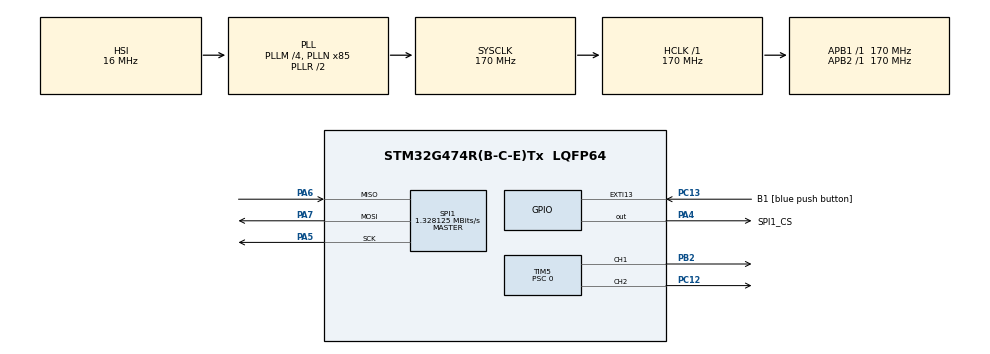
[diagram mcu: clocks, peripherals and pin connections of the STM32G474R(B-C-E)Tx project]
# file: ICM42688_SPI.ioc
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Dma.Request0=SPI1_TX
Dma.Request1=SPI1_RX
Dma.SPI1_RX.1.Direction=DMA_PERIPH_TO_MEMORY
Dma.SPI1_RX.1.EventEnable=DISABLE
Dma.SPI1_RX.1.Instance=DMA1_Channel2
Dma.SPI1_RX.1.MemDataAlignment=DMA_MDATAALIGN_BYTE
Dma.SPI1_RX.1.MemInc=DMA_MINC_ENABLE
Dma.SPI1_RX.1.Mode=DMA_CIRCULAR
Dma.SPI1_RX.1.PeriphDataAlignment=DMA_PDATAALIGN_BYTE
Dma.SPI1_RX.1.PeriphInc=DMA_PINC_DISABLE
Dma.SPI1_RX.1.Polarity=HAL_DMAMUX_REQ_GEN_RISING
Dma.SPI1_RX.1.Priority=DMA_PRIORITY_LOW
Dma.SPI1_RX.1.RequestNumber=1
Dma.SPI1_RX.1.SignalID=NONE
Dma.SPI1_RX.1.SyncEnable=DISABLE
Dma.SPI1_RX.1.SyncPolarity=HAL_DMAMUX_SYNC_NO_EVENT
Dma.SPI1_RX.1.SyncRequestNumber=1
Dma.SPI1_RX.1.SyncSignalID=NONE
Dma.SPI1_TX.0.Direction=DMA_MEMORY_TO_PERIPH
Dma.SPI1_TX.0.EventEnable=DISABLE
Dma.SPI1_TX.0.Instance=DMA1_Channel1
Dma.SPI1_TX.0.MemDataAlignment=DMA_MDATAALIGN_BYTE
Dma.SPI1_TX.0.MemInc=DMA_MINC_ENABLE
Dma.SPI1_TX.0.Mode=DMA_CIRCULAR
Dma.SPI1_TX.0.PeriphDataAlignment=DMA_PDATAALIGN_BYTE
Dma.SPI1_TX.0.PeriphInc=DMA_PINC_DISABLE
Dma.SPI1_TX.0.Polarity=HAL_DMAMUX_REQ_GEN_RISING
Dma.SPI1_TX.0.Priority=DMA_PRIORITY_LOW
Dma.SPI1_TX.0.RequestNumber=1
Dma.SPI1_TX.0.SignalID=NONE
Dma.SPI1_TX.0.SyncEnable=DISABLE
Dma.SPI1_TX.0.SyncPolarity=HAL_DMAMUX_SYNC_NO_EVENT
Dma.SPI1_TX.0.SyncRequestNumber=1
Dma.SPI1_TX.0.SyncSignalID=NONE
Mcu.Family=STM32G4
Mcu.Name=STM32G474R(B-C-E)Tx
Mcu.Package=LQFP64
NUCLEO-G474RE.VCP=true
NVIC.DMA1_Channel1_IRQn=true\:0\:0\:false\:false\:true\:false\:true\:true
NVIC.DMA1_Channel2_IRQn=true\:0\:0\:false\:false\:true\:false\:true\:true
NVIC.EXTI15_10_IRQn=true\:0\:0\:false\:false\:true\:true\:true\:true
NVIC.PriorityGroup=NVIC_PRIORITYGROUP_4
PA4.GPIO_Label=SPI1_CS
PA4.GPIO_Speed=GPIO_SPEED_FREQ_HIGH
PA4.PinState=GPIO_PIN_SET
PA4.Signal=GPIO_Output
PA5.Mode=Full_Duplex_Master
PA5.Signal=SPI1_SCK
PA6.Mode=Full_Duplex_Master
PA6.Signal=SPI1_MISO
PA7.Mode=Full_Duplex_Master
PA7.Signal=SPI1_MOSI
PB2.Signal=S_TIM5_CH1
PC12.Signal=S_TIM5_CH2
PC13.GPIO_Label=B1 [blue push button]
PC13.Signal=GPXTI13
ProjectManager.HeapSize=0x200
ProjectManager.StackSize=0x400
ProjectManager.TargetToolchain=STM32CubeIDE
RCC.ADC12Freq_Value=170000000
RCC.ADC345Freq_Value=170000000
RCC.AHBFreq_Value=170000000
RCC.APB1Freq_Value=170000000
RCC.APB1TimFreq_Value=170000000
RCC.APB2Freq_Value=170000000
RCC.APB2TimFreq_Value=170000000
RCC.CortexFreq_Value=170000000
RCC.EXTERNAL_CLOCK_VALUE=12288000
RCC.HCLKFreq_Value=170000000
RCC.HSE_VALUE=24000000
RCC.HSI48_VALUE=48000000
RCC.HSI_VALUE=16000000
RCC.LSE_VALUE=32768
RCC.PLLM=RCC_PLLM_DIV4
RCC.PLLN=85
RCC.RTCClockSelection=RCC_RTCCLKSOURCE_LSE
RCC.SYSCLKFreq_VALUE=170000000
RCC.SYSCLKSource=RCC_SYSCLKSOURCE_PLLCLK
RCC.USBFreq_Value=170000000
RCC.VCOOutputFreq_Value=340000000
SH.S_TIM5_CH1.0=TIM5_CH1,PWM Generation1 CH1
SH.S_TIM5_CH2.0=TIM5_CH2,PWM Generation2 CH2
SPI1.BaudRatePrescaler=SPI_BAUDRATEPRESCALER_128
SPI1.CLKPhase=SPI_PHASE_2EDGE
SPI1.CLKPolarity=SPI_POLARITY_HIGH
SPI1.CRCCalculation=SPI_CRCCALCULATION_DISABLE
SPI1.CalculateBaudRate=1.328125 MBits/s
SPI1.DataSize=SPI_DATASIZE_8BIT
SPI1.Direction=SPI_DIRECTION_2LINES
SPI1.Mode=SPI_MODE_MASTER
SPI1.VirtualType=VM_MASTER
TIM5.Channel-PWM\ Generation1\ CH1=TIM_CHANNEL_1
TIM5.Channel-PWM\ Generation2\ CH2=TIM_CHANNEL_2
TIM5.OCFastMode_PWM-PWM\ Generation1\ CH1=TIM_OCFAST_DISABLE
TIM5.OCFastMode_PWM-PWM\ Generation2\ CH2=TIM_OCFAST_DISABLE
TIM5.OCMode_PWM-PWM\ Generation1\ CH1=TIM_OCMODE_PWM1
TIM5.OCMode_PWM-PWM\ Generation2\ CH2=TIM_OCMODE_PWM1
TIM5.OCPolarity_1=TIM_OCPOLARITY_HIGH
TIM5.OCPolarity_2=TIM_OCPOLARITY_HIGH
TIM5.PeriodNoDither=8500
TIM5.Prescaler=0
TIM5.PulseNoDither_1=1063
TIM5.PulseNoDither_2=0
VP_NUCLEO-G474RE_VS_BSP_COMMON.Mode=COMMON
VP_SYS_VS_DBSignals.Mode=DisableDeadBatterySignals
VP_TIM5_VS_ClockSourceINT.Mode=Internal
board=NUCLEO-G474RE

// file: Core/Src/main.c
/* USER CODE BEGIN Header */
/* USER CODE END Header */
#include "main.h"

/* USER CODE BEGIN Includes */
#include "ICM42688.h"
#include <stdio.h>
/* USER CODE END Includes */

/* USER CODE BEGIN PD */

  int16_t ICM42688Data[7] = {0,0,0,0,0,0,0};
  float accelDiff[3] = {0, 0, 0}, gyroDiff[3] = {0, 0, 0};               	// difference betwee ST and normal values
  float  STratio[7] = {0.0f, 0.0f, 0.0f, 0.0f, 0.0f, 0.0f, 0.0f};          	// self-test results for the accel and gyro
  float accelBias[3] = {0.0f, 0.0f,0.0f}, gyroBias[3] = {0.0f, 0.0f,0.0f};
  float ax, ay, az, gx, gy, gz;                                            	// variables to hold latest accel/gyro data values

  float aRes, gRes;

  // PWM STUFF
  uint16_t start_pwm = 10;
  uint16_t current_pwm;
  uint16_t target_pwm = 8500;
  uint8_t step = 10;

#define RAMP_UP_DELAY 20
/* USER CODE END PD */

COM_InitTypeDef BspCOMInit;
SPI_HandleTypeDef hspi1;
DMA_HandleTypeDef hdma_spi1_tx;
DMA_HandleTypeDef hdma_spi1_rx;

TIM_HandleTypeDef htim5;

void SystemClock_Config(void);
static void MX_GPIO_Init(void);
static void MX_DMA_Init(void);
static void MX_TIM5_Init(void);
static void MX_SPI1_Init(void);

int main(void)
{

  /* MCU Configuration--------------------------------------------------------*/

  /* Reset of all peripherals, Initializes the Flash interface and the Systick. */
  HAL_Init();

  /* Configure the system clock */
  SystemClock_Config();

  /* Initialize all configured peripherals */
  MX_GPIO_Init();
  MX_DMA_Init();
  MX_TIM5_Init();
  MX_SPI1_Init();
  /* USER CODE BEGIN 2 */
  HAL_TIM_PWM_Start(&htim5, TIM_CHANNEL_1);	// Start PWM: TIM5
  HAL_TIM_PWM_Start(&htim5, TIM_CHANNEL_2); // Start PWM: TIM5
  /* USER CODE END 2 */

  /* Initialize COM1 port (115200, 8 bits (7-bit data + 1 stop bit), no parity */
  BspCOMInit.BaudRate   = 115200;
  BspCOMInit.WordLength = COM_WORDLENGTH_8B;
  BspCOMInit.StopBits   = COM_STOPBITS_1;
  BspCOMInit.Parity     = COM_PARITY_NONE;
  BspCOMInit.HwFlowCtl  = COM_HWCONTROL_NONE;
  if (BSP_COM_Init(COM1, &BspCOMInit) != BSP_ERROR_NONE)
  {
    Error_Handler();
  }

  /* Infinite loop */
  /* USER CODE BEGIN WHILE */
  ICM42688_WhoAmI();

  ICM42688_Selftest(accelDiff, gyroDiff, STratio);

	aRes = ICM42688_getARes(AFS_16G);
	gRes = ICM42688_getGRes(GFS_2000DPS);

  ICM42688_Init(AFS_16G, GFS_2000DPS, AODR_1kHz, GODR_1kHz);

  ICM42688_offsetBias(accelBias, gyroBias);

	printf("accel biases (mg)\n");
	printf("%f\t" ,1000.0f * accelBias[0]);
	printf("%f\t" ,1000.0f * accelBias[1]);
	printf("%f\n" ,1000.0f * accelBias[2]);
	printf("gyro biases (dps)\n");
	printf("%f\t" ,gyroBias[0]);
	printf("%f\t" ,gyroBias[1]);
	printf("%f\n" ,gyroBias[2]);

  while(1)
  {
	  if (HAL_GPIO_ReadPin(GPIOC, GPIO_PIN_13) == GPIO_PIN_SET) // IF BUTTON PRESSED
	  {

	  }

	  ICM42688_readData(ICM42688Data);
	  //printf("Temp: %i\tAcc X: %i\tAcc Y: %i\tAcc Z: %i\tGyro X: %i\tGyro Y: %i\tGyro Z: %i\t", ICM42688Data[0],ICM42688Data[1],ICM42688Data[2],ICM42688Data[3],ICM42688Data[4],ICM42688Data[5],ICM42688Data[6]);
	  //printf("\n");
		// Now we'll calculate the accleration value into actual g's
		ax = (float)ICM42688Data[1]*aRes - accelBias[0];  // get actual g value, this depends on scale being set
		ay = (float)ICM42688Data[2]*aRes - accelBias[1];
		az = (float)ICM42688Data[3]*aRes - accelBias[2];

		// Calculate the gyro value into actual degrees per second
		gx = (float)ICM42688Data[4]*gRes;// - gyroBias[0];  // get actual gyro value, this depends on scale being set
		gy = (float)ICM42688Data[5]*gRes;// - gyroBias[1];
		gz = (float)ICM42688Data[6]*gRes;// - gyroBias[2];

		printf("Temp: %i\t\tAcc X: %.3f\t\tAcc Y: %.3f\t\tAcc Z: %.3f\t\tGyro X: %.3f\t\tGyro Y: %.3f\t\tGyro Z: %.3f\n", ICM42688Data[0],ax,ay,az,gx,gy,gz);

	  // PWM STUFF
/*
	  for(current_pwm = start_pwm; current_pwm <= target_pwm; current_pwm += step)
	  {

		  __HAL_TIM_SET_COMPARE(&htim5, TIM_CHANNEL_1, current_pwm);

		  // ramp up delay
		  HAL_Delay(RAMP_UP_DELAY);
	  }

	  // let motor spin at max for 2s
	  HAL_Delay(2000);

	  for(current_pwm = target_pwm; current_pwm >= start_pwm; current_pwm -= step)
	  {

		  __HAL_TIM_SET_COMPARE(&htim5, TIM_CHANNEL_1, current_pwm);

		  // ramp down delay
		  HAL_Delay(RAMP_UP_DELAY);
	  }

	  while(current_pwm < target_pwm)
	  {
		  current_pwm += step;
		  if(current_pwm > target_pwm)
		  {
			  current_pwm = target_pwm;
		  }

		  __HAL_TIM_SET_COMPARE(&htim5, TIM_CHANNEL_1, current_pwm);

		  HAL_Delay(RAMP_UP_DELAY);
	  }*/
  }

    /* USER CODE END WHILE */

}

void SystemClock_Config(void)
{
  RCC_OscInitTypeDef RCC_OscInitStruct = {0};
  RCC_ClkInitTypeDef RCC_ClkInitStruct = {0};

  /** Configure the main internal regulator output voltage
  */
  HAL_PWREx_ControlVoltageScaling(PWR_REGULATOR_VOLTAGE_SCALE1_BOOST);

  /** Initializes the RCC Oscillators according to the specified parameters
  * in the RCC_OscInitTypeDef structure.
  */
  RCC_OscInitStruct.OscillatorType = RCC_OSCILLATORTYPE_HSI;
  RCC_OscInitStruct.HSIState = RCC_HSI_ON;
  RCC_OscInitStruct.HSICalibrationValue = RCC_HSICALIBRATION_DEFAULT;
  RCC_OscInitStruct.PLL.PLLState = RCC_PLL_ON;
  RCC_OscInitStruct.PLL.PLLSource = RCC_PLLSOURCE_HSI;
  RCC_OscInitStruct.PLL.PLLM = RCC_PLLM_DIV4;
  RCC_OscInitStruct.PLL.PLLN = 85;
  RCC_OscInitStruct.PLL.PLLP = RCC_PLLP_DIV2;
  RCC_OscInitStruct.PLL.PLLQ = RCC_PLLQ_DIV2;
  RCC_OscInitStruct.PLL.PLLR = RCC_PLLR_DIV2;
  if (HAL_RCC_OscConfig(&RCC_OscInitStruct) != HAL_OK)
  {
    Error_Handler();
  }

  /** Initializes the CPU, AHB and APB buses clocks
  */
  RCC_ClkInitStruct.ClockType = RCC_CLOCKTYPE_HCLK|RCC_CLOCKTYPE_SYSCLK
                              |RCC_CLOCKTYPE_PCLK1|RCC_CLOCKTYPE_PCLK2;
  RCC_ClkInitStruct.SYSCLKSource = RCC_SYSCLKSOURCE_PLLCLK;
  RCC_ClkInitStruct.AHBCLKDivider = RCC_SYSCLK_DIV1;
  RCC_ClkInitStruct.APB1CLKDivider = RCC_HCLK_DIV1;
  RCC_ClkInitStruct.APB2CLKDivider = RCC_HCLK_DIV1;

  if (HAL_RCC_ClockConfig(&RCC_ClkInitStruct, FLASH_LATENCY_4) != HAL_OK)
  {
    Error_Handler();
  }
}

static void MX_SPI1_Init(void)
{

  /* SPI1 parameter configuration*/
  hspi1.Instance = SPI1;
  hspi1.Init.Mode = SPI_MODE_MASTER;
  hspi1.Init.Direction = SPI_DIRECTION_2LINES;
  hspi1.Init.DataSize = SPI_DATASIZE_8BIT;
  hspi1.Init.CLKPolarity = SPI_POLARITY_HIGH;
  hspi1.Init.CLKPhase = SPI_PHASE_2EDGE;
  hspi1.Init.NSS = SPI_NSS_SOFT;
  hspi1.Init.BaudRatePrescaler = SPI_BAUDRATEPRESCALER_128;
  hspi1.Init.FirstBit = SPI_FIRSTBIT_MSB;
  hspi1.Init.TIMode = SPI_TIMODE_DISABLE;
  hspi1.Init.CRCCalculation = SPI_CRCCALCULATION_DISABLE;
  hspi1.Init.CRCPolynomial = 7;
  hspi1.Init.CRCLength = SPI_CRC_LENGTH_DATASIZE;
  hspi1.Init.NSSPMode = SPI_NSS_PULSE_DISABLE;
  if (HAL_SPI_Init(&hspi1) != HAL_OK)
  {
    Error_Handler();
  }

}

static void MX_TIM5_Init(void)
{

  TIM_ClockConfigTypeDef sClockSourceConfig = {0};
  TIM_MasterConfigTypeDef sMasterConfig = {0};
  TIM_OC_InitTypeDef sConfigOC = {0};

  htim5.Instance = TIM5;
  htim5.Init.Prescaler = 0;
  htim5.Init.CounterMode = TIM_COUNTERMODE_UP;
  htim5.Init.Period = 8500;
  htim5.Init.ClockDivision = TIM_CLOCKDIVISION_DIV1;
  htim5.Init.AutoReloadPreload = TIM_AUTORELOAD_PRELOAD_DISABLE;
  if (HAL_TIM_Base_Init(&htim5) != HAL_OK)
  {
    Error_Handler();
  }
  sClockSourceConfig.ClockSource = TIM_CLOCKSOURCE_INTERNAL;
  if (HAL_TIM_ConfigClockSource(&htim5, &sClockSourceConfig) != HAL_OK)
  {
    Error_Handler();
  }
  if (HAL_TIM_PWM_Init(&htim5) != HAL_OK)
  {
    Error_Handler();
  }
  sMasterConfig.MasterOutputTrigger = TIM_TRGO_RESET;
  sMasterConfig.MasterSlaveMode = TIM_MASTERSLAVEMODE_DISABLE;
  if (HAL_TIMEx_MasterConfigSynchronization(&htim5, &sMasterConfig) != HAL_OK)
  {
    Error_Handler();
  }
  sConfigOC.OCMode = TIM_OCMODE_PWM1;
  sConfigOC.Pulse = 1063;
  sConfigOC.OCPolarity = TIM_OCPOLARITY_HIGH;
  sConfigOC.OCFastMode = TIM_OCFAST_DISABLE;
  if (HAL_TIM_PWM_ConfigChannel(&htim5, &sConfigOC, TIM_CHANNEL_1) != HAL_OK)
  {
    Error_Handler();
  }
  sConfigOC.Pulse = 0;
  if (HAL_TIM_PWM_ConfigChannel(&htim5, &sConfigOC, TIM_CHANNEL_2) != HAL_OK)
  {
    Error_Handler();
  }
  HAL_TIM_MspPostInit(&htim5);

}

static void MX_DMA_Init(void)
{

  /* DMA controller clock enable */
  __HAL_RCC_DMAMUX1_CLK_ENABLE();
  __HAL_RCC_DMA1_CLK_ENABLE();

  /* DMA interrupt init */
  /* DMA1_Channel1_IRQn interrupt configuration */
  HAL_NVIC_SetPriority(DMA1_Channel1_IRQn, 0, 0);
  HAL_NVIC_EnableIRQ(DMA1_Channel1_IRQn);
  /* DMA1_Channel2_IRQn interrupt configuration */
  HAL_NVIC_SetPriority(DMA1_Channel2_IRQn, 0, 0);
  HAL_NVIC_EnableIRQ(DMA1_Channel2_IRQn);
  /* DMAMUX_OVR_IRQn interrupt configuration */
  HAL_NVIC_SetPriority(DMAMUX_OVR_IRQn, 0, 0);
  HAL_NVIC_EnableIRQ(DMAMUX_OVR_IRQn);

}

static void MX_GPIO_Init(void)
{
  GPIO_InitTypeDef GPIO_InitStruct = {0};

  /* GPIO Ports Clock Enable */
  __HAL_RCC_GPIOC_CLK_ENABLE();
  __HAL_RCC_GPIOA_CLK_ENABLE();
  __HAL_RCC_GPIOB_CLK_ENABLE();

  /*Configure GPIO pin Output Level */
  HAL_GPIO_WritePin(SPI1_CS_GPIO_Port, SPI1_CS_Pin, GPIO_PIN_SET);

  /*Configure GPIO pin : B1_Pin */
  GPIO_InitStruct.Pin = B1_Pin;
  GPIO_InitStruct.Mode = GPIO_MODE_IT_RISING;
  GPIO_InitStruct.Pull = GPIO_NOPULL;
  HAL_GPIO_Init(B1_GPIO_Port, &GPIO_InitStruct);

  /*Configure GPIO pin : SPI1_CS_Pin */
  GPIO_InitStruct.Pin = SPI1_CS_Pin;
  GPIO_InitStruct.Mode = GPIO_MODE_OUTPUT_PP;
  GPIO_InitStruct.Pull = GPIO_NOPULL;
  GPIO_InitStruct.Speed = GPIO_SPEED_FREQ_HIGH;
  HAL_GPIO_Init(SPI1_CS_GPIO_Port, &GPIO_InitStruct);

  /* EXTI interrupt init*/
  HAL_NVIC_SetPriority(EXTI15_10_IRQn, 0, 0);
  HAL_NVIC_EnableIRQ(EXTI15_10_IRQn);

}

void Error_Handler(void)
{
}
